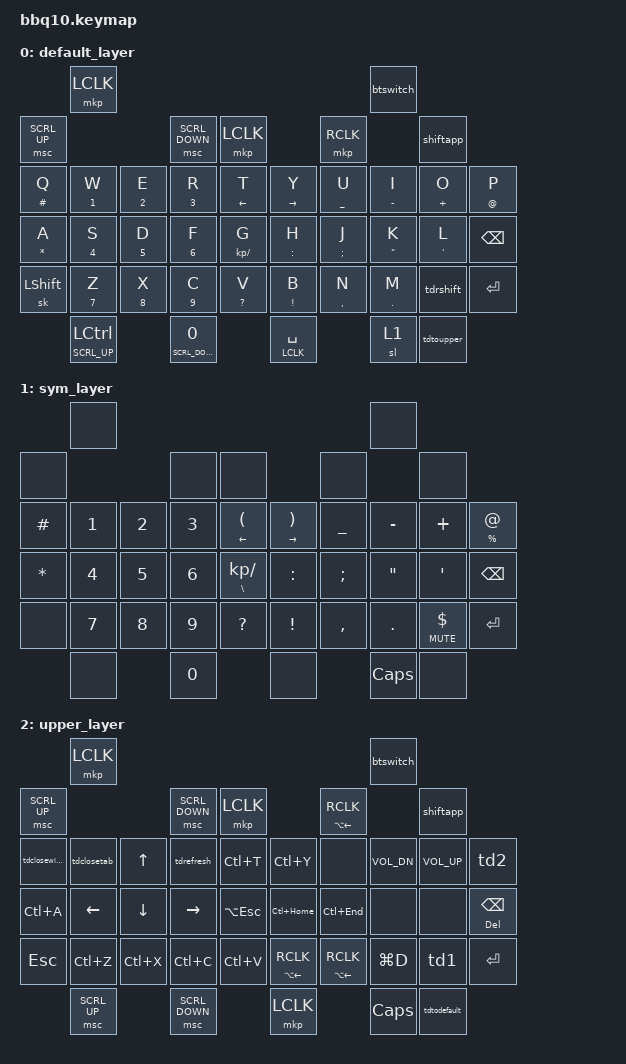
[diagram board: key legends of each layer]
  /*
 * Copyright (c) 2023 ZitaoTech
 *
 * SPDX-License-Identifier: MIT
 */

#include <behaviors.dtsi>
#include <dt-bindings/zmk/keys.h>
#include <dt-bindings/zmk/bt.h>
#include <dt-bindings/zmk/outputs.h>
#include <dt-bindings/zmk/mouse.h>
#include <dt-bindings/zmk/backlight.h>
#include <dt-bindings/zmk/ext_power.h>


#define DEFAULT 0
#define SYM 1
#define UPPER 2

&sk {
       release-after-ms = <2500>;
   };

/ {
   //单击层1字符，长按层2字符
    behaviors {
        bhm: balanced_homerow_mods {
            compatible = "zmk,behavior-hold-tap";
            #binding-cells = <2>;
            flavor = "balanced";
            tapping-term-ms = <280>;
            bindings = <&kp>, <&kp>;
        };
    };

   //单击返回，长按浏览器返回
    behaviors {
        rcm: rclick_bswback_mods {
            compatible = "zmk,behavior-hold-tap";
            #binding-cells = <2>;
            flavor = "balanced";
            tapping-term-ms = <280>;
            bindings = <&kp>, <&mkp>;
        };
    };

   //单击数字0，长按scrolldown
    behaviors {
        rcm2: scroll2_mods {
            compatible = "zmk,behavior-hold-tap";
            #binding-cells = <2>;
            flavor = "balanced";
            tapping-term-ms = <280>;
            bindings = <&kp>, <&msc>;
        };
    };

   //单击ctrl，长按scrollup
    behaviors {
        rcm3: scroll3_mods {
            compatible = "zmk,behavior-hold-tap";
            #binding-cells = <2>;
            flavor = "balanced";
            tapping-term-ms = <280>;
            bindings = <&sk>, <&msc>;
        };
    };

   //切换蓝牙设备
    behaviors {
        btswitch: tap_dance_btswitch {
            compatible = "zmk,behavior-tap-dance";
            #binding-cells = <0>;
            tapping-term-ms = <400>;
            bindings = <&tobt0>, <&tobt1>;
        };
    };

    macros {
        //切换设备1
        tobt0: zed_em_tobt0 {
            compatible = "zmk,behavior-macro";
            #binding-cells = <0>;
            bindings = <&macro_tap &bt BT_SEL 0>,<&macro_tap &to UPPER>;
        };

        //切换设备2
        tobt1: zed_em_tobt1 {
            compatible = "zmk,behavior-macro";
            #binding-cells = <0>;
            bindings = <&macro_tap &bt BT_SEL 1>,<&macro_tap &to UPPER>;
        };

        //解锁密码
        pwd: zen_em_pwd{
            compatible = "zmk,behavior-macro";
            #binding-cells = <0>;
            bindings =<&macro_tap &kp SPACE &kp SPACE &kp SPACE &kp SPACE>;
        }; 

        //切换程序
        shiftapp: zen_em_shiftapp{
            compatible = "zmk,behavior-macro";
            #binding-cells = <0>;
            bindings =<&macro_press &kt LALT>, <&macro_tap &kp TAB>, <&macro_release &kp TAB>;
        }; 
  };

   //单击PC切换输入法，双击RShift
    behaviors {
        tdrshift: tap_dance_rshift {
            compatible = "zmk,behavior-tap-dance";
            #binding-cells = <0>;
            tapping-term-ms = <400>;
            bindings =<&kp LG(SPACE)>, <&kp RSHFT>;
        };
    };

   //双击进入层UPPER
    behaviors {
        tdtoupper: tap_dance_toupper {
            compatible = "zmk,behavior-tap-dance";
            #binding-cells = <0>;
            tapping-term-ms = <350>;
            bindings = <&none>, <&to UPPER>;
        };
    };

   //双击进入层DEFAULT
    behaviors {
        tdtodefault: tap_dance_todefault {
            compatible = "zmk,behavior-tap-dance";
            #binding-cells = <0>;
            tapping-term-ms = <350>;
            bindings = <&none>, <&to DEFAULT>;
        };
    };

   //双击关闭程序
    behaviors {
        tdclosewindow: tap_dance_closewindow {
            compatible = "zmk,behavior-tap-dance";
            #binding-cells = <0>;
            tapping-term-ms = <400>;
            bindings =<&kp Q>, <&kp LA(F4)>;
        };
    };

   //双击关闭浏览器标签页
    behaviors {
        tdclosetab: tap_dance_closetab { 
            compatible = "zmk,behavior-tap-dance";
            #binding-cells = <0>;
            tapping-term-ms = <400>;
            bindings =<&kp W>, <&kp LC(W)>;
        };
    };

   //双击浏览器刷新    
    behaviors {
        tdrefresh: tap_dance_refresh { 
            compatible = "zmk,behavior-tap-dance";
            #binding-cells = <0>;
            tapping-term-ms = <400>;
            bindings =<&kp R>, <&kp LC(R)>;
        };
    };

   //单击输入解锁密码，双击进入bootloder
    behaviors {
        td1: tap_dance_1 {
            compatible = "zmk,behavior-tap-dance";
            #binding-cells = <0>;
            tapping-term-ms = <250>;
            bindings = <&pwd>, <&bootloader>;
        };
    };

   //双击键盘软重启
    behaviors {
        td2: tap_dance_2 {
            compatible = "zmk,behavior-tap-dance";
            #binding-cells = <0>;
            tapping-term-ms = <400>;
            bindings = <&none>, <&sys_reset>;
        };
    };

    keymap {
        compatible = "zmk,keymap";

        default_layer {

            bindings = <
// -----------------------------------------------------------------------------------------------------------------------------------------------         
//         |    Shoulder Key1    |                                                                             |    Shoulder Key2    |     
// |         Call key      |      Blackberry Key        |    Trackpad    |             Back Key                |             Endcall Key          |
// |     Q      |     W    |     E    |     R    |      T      |       Y        |       U        |        I        |       O      |      P        |     
// |     A      |     S    |     D    |     F    |      G      |       H        |       J        |        K        |       L      |      ←        |  
// |     alt    |     Z    |     X    |     C    |      V      |       B        |       N        |        M        |       $      |    Enter      |   
//        |         aA     |         0           |           SPACE              |         SYM         |        aA          |       
// -----------------------------------------------------------------------------------------------------------------------------------------------

                 &mkp LCLK                                                                                              &btswitch
         &msc SCRL_UP                  &msc SCRL_DOWN           &mkp LCLK                   &mkp RCLK                          &shiftapp
    &bhm HASH Q    &bhm N1 W    &bhm N2 E    &bhm N3 R    &bhm LEFT T         &bhm RIGHT Y     &bhm UNDER U      &bhm MINUS I    &bhm PLUS O    &bhm AT P
    &bhm STAR A    &bhm N4 S    &bhm N5 D    &bhm N6 F    &bhm KP_DIVIDE G    &bhm COLON H     &bhm SEMI J       &bhm DQT K      &bhm APOS L    &kp BSPC
    &sk LSHFT      &bhm N7 Z    &bhm N8 X    &bhm N9 C    &bhm QMARK V        &bhm EXCL B      &bhm COMMA N      &bhm DOT M      &tdrshift      &kp ENTER
                 &rcm3 SCRL_UP LCTRL        &rcm2 SCRL_DOWN N0                   &rcm LCLK SPACE                     &sl 1             &tdtoupper
            >;
        };


        sym_layer {

            bindings = <        
        &none                                                                                                    &none
       &none                       &none                &none            &none                              &none 
    &kp HASH       &kp N1     &kp N2      &kp N3    &bhm LEFT LPAR         &bhm RIGHT RPAR    &kp UNDER     &kp MINUS      &kp PLUS           &mt PRCNT AT
    &kp STAR       &kp N4     &kp N5      &kp N6    &mt BSLH KP_DIVIDE     &kp COLON          &kp SEMI      &kp DQT        &kp APOS           &kp BSPC
    &none          &kp N7     &kp N8      &kp N9    &kp QMARK              &kp EXCL           &kp COMMA     &kp DOT        &mt C_MUTE DLLR    &kp ENTER
           &none          &kp N0                    &none                     &kp CLCK               &none
            >;
        };

        upper_layer {

            bindings = <
        &mkp LCLK                                                                                                 &btswitch
        &msc SCRL_UP                   &msc SCRL_DOWN             &mkp LCLK              &rcm LA(LEFT) RCLK                            &shiftapp
    &tdclosewindow     &tdclosetab      &kp UP          &tdrefresh        &kp LC(T)      &kp LC(Y)              &none                &kp C_VOL_DN      &kp C_VOL_UP     &td2
    &kp LC(A)          &kp LEFT         &kp DOWN        &kp RIGHT         &kp LA(ESC)    &kp LC(HOME)           &kp LC(END)          &none             &none            &mt DEL BSPC
    &kp ESC            &kp LC(Z)        &kp LC(X)       &kp LC(C)         &kp LC(V)      &rcm LA(LEFT) RCLK     &rcm LA(LEFT) RCLK   &kp LG(D)         &td1             &kp ENTER
                  &msc SCRL_UP          &msc SCRL_DOWN            &mkp LCLK                       &kp CLCK             &tdtodefault
            >;
        };
    };
}; 
